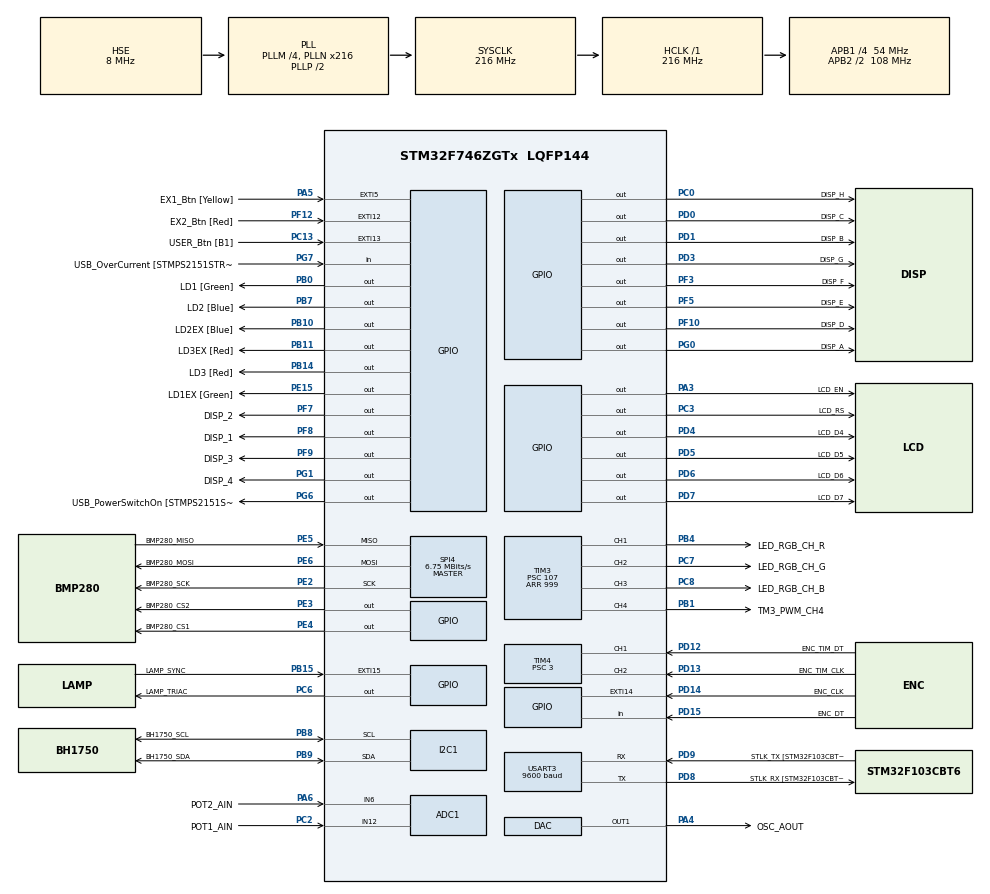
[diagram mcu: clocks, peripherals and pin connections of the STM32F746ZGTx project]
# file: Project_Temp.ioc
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ADC1.Channel-0\#ChannelRegularConversion=ADC_CHANNEL_12
ADC1.Channel-1\#ChannelRegularConversion=ADC_CHANNEL_6
ADC1.ClockPrescaler=ADC_CLOCK_SYNC_PCLK_DIV8
ADC1.ContinuousConvMode=DISABLE
ADC1.DMAContinuousRequests=ENABLE
ADC1.EOCSelection=ADC_EOC_SEQ_CONV
ADC1.InjNumberOfConversion=0
ADC1.NbrOfConversion=2
ADC1.NbrOfConversionFlag=1
ADC1.Rank-0\#ChannelRegularConversion=1
ADC1.Rank-1\#ChannelRegularConversion=2
ADC1.SamplingTime-0\#ChannelRegularConversion=ADC_SAMPLETIME_480CYCLES
ADC1.SamplingTime-1\#ChannelRegularConversion=ADC_SAMPLETIME_480CYCLES
ADC1.master=1
DAC.DAC_Trigger=DAC_TRIGGER_NONE
Dma.ADC1.0.Direction=DMA_PERIPH_TO_MEMORY
Dma.ADC1.0.FIFOMode=DMA_FIFOMODE_DISABLE
Dma.ADC1.0.Instance=DMA2_Stream0
Dma.ADC1.0.MemDataAlignment=DMA_MDATAALIGN_HALFWORD
Dma.ADC1.0.MemInc=DMA_MINC_ENABLE
Dma.ADC1.0.Mode=DMA_CIRCULAR
Dma.ADC1.0.PeriphDataAlignment=DMA_PDATAALIGN_HALFWORD
Dma.ADC1.0.PeriphInc=DMA_PINC_DISABLE
Dma.ADC1.0.Priority=DMA_PRIORITY_LOW
Dma.DAC1.1.Direction=DMA_MEMORY_TO_PERIPH
Dma.DAC1.1.FIFOMode=DMA_FIFOMODE_DISABLE
Dma.DAC1.1.Instance=DMA1_Stream5
Dma.DAC1.1.MemDataAlignment=DMA_MDATAALIGN_HALFWORD
Dma.DAC1.1.MemInc=DMA_MINC_ENABLE
Dma.DAC1.1.Mode=DMA_CIRCULAR
Dma.DAC1.1.PeriphDataAlignment=DMA_PDATAALIGN_HALFWORD
Dma.DAC1.1.PeriphInc=DMA_PINC_DISABLE
Dma.DAC1.1.Priority=DMA_PRIORITY_HIGH
Dma.Request0=ADC1
Dma.Request1=DAC1
I2C1.Timing=0x20404768
Mcu.Family=STM32F7
Mcu.Name=STM32F746ZGTx
Mcu.Package=LQFP144
NVIC.DMA1_Stream5_IRQn=true\:0\:0\:false\:false\:true\:false\:true
NVIC.DMA2_Stream0_IRQn=true\:0\:0\:false\:false\:true\:false\:true
NVIC.EXTI15_10_IRQn=true\:0\:0\:false\:false\:true\:true\:true
NVIC.EXTI9_5_IRQn=true\:0\:0\:false\:false\:true\:true\:true
NVIC.PriorityGroup=NVIC_PRIORITYGROUP_4
NVIC.TIM2_IRQn=true\:0\:0\:false\:false\:true\:true\:true
NVIC.TIM6_DAC_IRQn=true\:0\:0\:false\:false\:true\:true\:true
NVIC.TIM7_IRQn=true\:0\:0\:false\:false\:true\:true\:true
NVIC.USART3_IRQn=true\:0\:0\:false\:false\:true\:true\:true
PA1.GPIO_Label=RMII_REF_CLK [LAN8742A-CZ-TR_REFCLK0]
PA1.Signal=ETH_REF_CLK
PA10.GPIO_Label=USB_ID
PA10.Signal=USB_OTG_FS_ID
PA11.GPIO_Label=USB_DM
PA11.Signal=USB_OTG_FS_DM
PA12.GPIO_Label=USB_DP
PA12.Signal=USB_OTG_FS_DP
PA13.GPIO_Label=TMS
PA13.Mode=Serial_Wire
PA13.Signal=SYS_JTMS-SWDIO
PA14.GPIO_Label=TCK
PA14.Mode=Serial_Wire
PA14.Signal=SYS_JTCK-SWCLK
PA2.GPIO_Label=RMII_MDIO [LAN8742A-CZ-TR_MDIO]
PA2.Signal=ETH_MDIO
PA3.GPIO_Label=LCD_EN
PA3.Signal=GPIO_Output
PA4.GPIO_Label=OSC_AOUT
PA4.Signal=COMP_DAC1_group
PA5.GPIO_Label=EX1_Btn [Yellow]
PA5.GPIO_ModeDefaultEXTI=GPIO_MODE_IT_FALLING
PA5.Signal=GPXTI5
PA6.GPIO_Label=POT2_AIN
PA6.Signal=ADCx_IN6
PA8.GPIO_Label=USB_SOF [TP1]
PA8.Signal=USB_OTG_FS_SOF
PA9.GPIO_Label=USB_VBUS
PA9.Signal=USB_OTG_FS_VBUS
PB0.GPIO_Label=LD1 [Green]
PB0.Signal=GPIO_Output
PB1.GPIO_Label=TM3_PWM_CH4
PB1.Signal=S_TIM3_CH4
PB10.GPIO_Label=LD2EX [Blue]
PB10.Signal=GPIO_Output
PB11.GPIO_Label=LD3EX [Red]
PB11.Signal=GPIO_Output
PB13.GPIO_Label=RMII_TXD1 [LAN8742A-CZ-TR_TXD1]
PB13.Signal=ETH_TXD1
PB14.GPIO_Label=LD3 [Red]
PB14.Signal=GPIO_Output
PB15.GPIO_Label=LAMP_SYNC
PB15.Signal=GPXTI15
PB3.GPIO_Label=SW0
PB3.Signal=SYS_JTDO-SWO
PB4.GPIO_Label=LED_RGB_CH_R
PB4.Signal=S_TIM3_CH1
PB7.GPIO_Label=LD2 [Blue]
PB7.Signal=GPIO_Output
PB8.GPIO_Label=BH1750_SCL
PB8.Mode=I2C
PB8.Signal=I2C1_SCL
PB9.GPIO_Label=BH1750_SDA
PB9.Mode=I2C
PB9.Signal=I2C1_SDA
PC0.GPIO_Label=DISP_H
PC0.GPIO_ModeDefaultOutputPP=GPIO_MODE_OUTPUT_OD
PC0.GPIO_PuPd=GPIO_PULLUP
PC0.Signal=GPIO_Output
PC1.GPIO_Label=RMII_MDC [LAN8742A-CZ-TR_MDC]
PC1.Signal=ETH_MDC
PC13.GPIO_Label=USER_Btn [B1]
PC13.Signal=GPXTI13
PC14/OSC32_IN.Mode=LSE-External-Oscillator
PC14/OSC32_IN.Signal=RCC_OSC32_IN
PC15/OSC32_OUT.Mode=LSE-External-Oscillator
PC15/OSC32_OUT.Signal=RCC_OSC32_OUT
PC2.GPIO_Label=POT1_AIN
PC2.Signal=ADCx_IN12
PC3.GPIO_Label=LCD_RS
PC3.Signal=GPIO_Output
PC4.GPIO_Label=RMII_RXD0 [LAN8742A-CZ-TR_RXD0]
PC4.Signal=ETH_RXD0
PC5.GPIO_Label=RMII_RXD1 [LAN8742A-CZ-TR_RXD1]
PC5.Signal=ETH_RXD1
PC6.GPIO_Label=LAMP_TRIAC
PC6.GPIO_Speed=GPIO_SPEED_FREQ_HIGH
PC6.Signal=GPIO_Output
PC7.GPIO_Label=LED_RGB_CH_G
PC7.Signal=S_TIM3_CH2
PC8.GPIO_Label=LED_RGB_CH_B
PC8.Signal=S_TIM3_CH3
PD0.GPIO_Label=DISP_C
PD0.GPIO_ModeDefaultOutputPP=GPIO_MODE_OUTPUT_OD
PD0.GPIO_PuPd=GPIO_PULLUP
PD0.Signal=GPIO_Output
PD1.GPIO_Label=DISP_B
PD1.GPIO_ModeDefaultOutputPP=GPIO_MODE_OUTPUT_OD
PD1.GPIO_PuPd=GPIO_PULLUP
PD1.Signal=GPIO_Output
PD12.GPIO_Label=ENC_TIM_DT
PD12.Signal=S_TIM4_CH1
PD13.GPIO_Label=ENC_TIM_CLK
PD13.Signal=S_TIM4_CH2
PD14.GPIO_Label=ENC_CLK
PD14.GPIO_ModeDefaultEXTI=GPIO_MODE_IT_FALLING
PD14.Signal=GPXTI14
PD15.GPIO_Label=ENC_DT
PD15.Signal=GPIO_Input
PD3.GPIO_Label=DISP_G
PD3.GPIO_ModeDefaultOutputPP=GPIO_MODE_OUTPUT_OD
PD3.GPIO_PuPd=GPIO_PULLUP
PD3.Signal=GPIO_Output
PD4.GPIO_Label=LCD_D4
PD4.Signal=GPIO_Output
PD5.GPIO_Label=LCD_D5
PD5.Signal=GPIO_Output
PD6.GPIO_Label=LCD_D6
PD6.Signal=GPIO_Output
PD7.GPIO_Label=LCD_D7
PD7.Signal=GPIO_Output
PD8.GPIO_Label=STLK_RX [STM32F103CBT6_PA3]
PD8.Mode=Asynchronous
PD8.Signal=USART3_TX
PD9.GPIO_Label=STLK_TX [STM32F103CBT6_PA2]
PD9.Mode=Asynchronous
PD9.Signal=USART3_RX
PE15.GPIO_Label=LD1EX [Green]
PE15.Signal=GPIO_Output
PE2.GPIO_Label=BMP280_SCK
PE2.Mode=Full_Duplex_Master
PE2.Signal=SPI4_SCK
PE3.GPIO_Label=BMP280_CS2
PE3.GPIO_Speed=GPIO_SPEED_FREQ_VERY_HIGH
PE3.PinState=GPIO_PIN_SET
PE3.Signal=GPIO_Output
PE4.GPIO_Label=BMP280_CS1
PE4.GPIO_Speed=GPIO_SPEED_FREQ_VERY_HIGH
PE4.PinState=GPIO_PIN_SET
PE4.Signal=GPIO_Output
PE5.GPIO_Label=BMP280_MISO
PE5.Mode=Full_Duplex_Master
PE5.Signal=SPI4_MISO
PE6.GPIO_Label=BMP280_MOSI
PE6.Mode=Full_Duplex_Master
PE6.Signal=SPI4_MOSI
PF10.GPIO_Label=DISP_D
PF10.GPIO_ModeDefaultOutputPP=GPIO_MODE_OUTPUT_OD
PF10.GPIO_PuPd=GPIO_PULLUP
PF10.Signal=GPIO_Output
PF12.GPIO_Label=EX2_Btn [Red]
PF12.Signal=GPXTI12
PF3.GPIO_Label=DISP_F
PF3.GPIO_ModeDefaultOutputPP=GPIO_MODE_OUTPUT_OD
PF3.GPIO_PuPd=GPIO_PULLUP
PF3.Signal=GPIO_Output
PF5.GPIO_Label=DISP_E
PF5.GPIO_ModeDefaultOutputPP=GPIO_MODE_OUTPUT_OD
PF5.GPIO_PuPd=GPIO_PULLUP
PF5.Signal=GPIO_Output
PF7.GPIO_Label=DISP_2
PF7.Signal=GPIO_Output
PF8.GPIO_Label=DISP_1
PF8.Signal=GPIO_Output
PF9.GPIO_Label=DISP_3
PF9.Signal=GPIO_Output
PG0.GPIO_Label=DISP_A
PG0.GPIO_ModeDefaultOutputPP=GPIO_MODE_OUTPUT_OD
PG0.GPIO_PuPd=GPIO_PULLUP
PG0.Signal=GPIO_Output
PG1.GPIO_Label=DISP_4
PG1.Signal=GPIO_Output
PG11.GPIO_Label=RMII_TX_EN [LAN8742A-CZ-TR_TXEN]
PG11.Signal=ETH_TX_EN
PG13.GPIO_Label=RMII_TXD0 [LAN8742A-CZ-TR_TXD0]
PG13.Signal=ETH_TXD0
PG6.GPIO_Label=USB_PowerSwitchOn [STMPS2151STR_EN]
PG6.Signal=GPIO_Output
PG7.GPIO_Label=USB_OverCurrent [STMPS2151STR_FAULT]
PG7.Signal=GPIO_Input
PH0/OSC_IN.GPIO_Label=MCO [STM32F103CBT6_PA8]
PH0/OSC_IN.Mode=HSE-External-Clock-Source
PH0/OSC_IN.Signal=RCC_OSC_IN
PH1/OSC_OUT.Mode=HSE-External-Clock-Source
PH1/OSC_OUT.Signal=RCC_OSC_OUT
ProjectManager.HeapSize=0x200
ProjectManager.StackSize=0x400
ProjectManager.TargetToolchain=STM32CubeIDE
RCC.48MHZClocksFreq_Value=24000000
RCC.AHBFreq_Value=216000000
RCC.APB1CLKDivider=RCC_HCLK_DIV4
RCC.APB1Freq_Value=54000000
RCC.APB1TimFreq_Value=108000000
RCC.APB2CLKDivider=RCC_HCLK_DIV2
RCC.APB2Freq_Value=108000000
RCC.APB2TimFreq_Value=216000000
RCC.CortexFreq_Value=216000000
RCC.HCLKFreq_Value=216000000
RCC.HSE_VALUE=8000000
RCC.HSI_VALUE=16000000
RCC.PLLM=4
RCC.PLLMUL=RCC_PLL_MUL9
RCC.PLLN=216
RCC.PLLQ=3
RCC.PLLSourceVirtual=RCC_PLLSOURCE_HSE
RCC.PRESCALERUSB=RCC_USBCLKSOURCE_PLL_DIV1_5
RCC.SYSCLKFreq_VALUE=216000000
RCC.SYSCLKSource=RCC_SYSCLKSOURCE_PLLCLK
RCC.SYSCLKSourceVirtual=RCC_SYSCLKSOURCE_PLLCLK
RCC.USBFreq_Value=144000000
RCC.VCOOutputFreq_Value=432000000
SH.ADCx_IN12.0=ADC1_IN12,IN12
SH.ADCx_IN6.0=ADC1_IN6,IN6
SH.COMP_DAC1_group.0=DAC_OUT1,DAC_OUT1
SH.S_TIM3_CH1.0=TIM3_CH1,PWM Generation1 CH1
SH.S_TIM3_CH2.0=TIM3_CH2,PWM Generation2 CH2
SH.S_TIM3_CH3.0=TIM3_CH3,PWM Generation3 CH3
SH.S_TIM3_CH4.0=TIM3_CH4,PWM Generation4 CH4
SH.S_TIM4_CH1.0=TIM4_CH1,Encoder_Interface
SH.S_TIM4_CH2.0=TIM4_CH2,Encoder_Interface
SPI4.BaudRatePrescaler=SPI_BAUDRATEPRESCALER_16
SPI4.CLKPhase=SPI_PHASE_2EDGE
SPI4.CLKPolarity=SPI_POLARITY_HIGH
SPI4.CalculateBaudRate=6.75 MBits/s
SPI4.DataSize=SPI_DATASIZE_8BIT
SPI4.Direction=SPI_DIRECTION_2LINES
SPI4.Mode=SPI_MODE_MASTER
SPI4.VirtualType=VM_MASTER
TIM2.Period=4999
TIM2.Prescaler=107
TIM3.Channel-PWM\ Generation1\ CH1=TIM_CHANNEL_1
TIM3.Channel-PWM\ Generation2\ CH2=TIM_CHANNEL_2
TIM3.Channel-PWM\ Generation3\ CH3=TIM_CHANNEL_3
TIM3.Channel-PWM\ Generation4\ CH4=TIM_CHANNEL_4
TIM3.Period=999
TIM3.Prescaler=107
TIM3.Pulse-PWM\ Generation2\ CH2=0
TIM3.Pulse-PWM\ Generation3\ CH3=0
TIM4.EncoderMode=TIM_ENCODERMODE_TI12
TIM4.IC1Polarity=TIM_ICPOLARITY_FALLING
TIM4.IC2Polarity=TIM_ICPOLARITY_FALLING
TIM4.Period=100
TIM4.Prescaler=3
TIM6.Period=999
TIM6.Prescaler=107
TIM6.TIM_MasterOutputTrigger=TIM_TRGO_UPDATE
TIM7.Period=999
TIM7.Prescaler=107
USART3.BaudRate=9600
USART3.VirtualMode-Asynchronous=VM_ASYNC
VP_TIM2_VS_ClockSourceINT.Mode=Internal
VP_TIM2_VS_OPM.Mode=OPM_bit
VP_TIM3_VS_ClockSourceINT.Mode=Internal
VP_TIM6_VS_ClockSourceINT.Mode=Enable_Timer
VP_TIM7_VS_ClockSourceINT.Mode=Enable_Timer
board=NUCLEO-F746ZG

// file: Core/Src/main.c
/* USER CODE BEGIN Header */
/**
  ******************************************************************************
  * @file           : main.c
  * @brief          : Main program body
  ******************************************************************************
  * @attention
  *
  * <h2><center>&copy; Copyright (c) 2021 STMicroelectronics.
  * All rights reserved.</center></h2>
  *
  * This software component is licensed by ST under BSD 3-Clause license,
  * the "License"; You may not use this file except in compliance with the
  * License. You may obtain a copy of the License at:
  *                        opensource.org/licenses/BSD-3-Clause
  *
  ******************************************************************************
  */
/* USER CODE END Header */
#include "main.h"
#include "adc.h"
#include "dac.h"
#include "dma.h"
#include "i2c.h"
#include "spi.h"
#include "tim.h"
#include "usart.h"
#include "gpio.h"

/* USER CODE BEGIN Includes */
#include "lcd.h"
#include "lcd_config.h"
#include "bmp280.h"
#include "bmp280_defs.h"
/* USER CODE END Includes */

/* USER CODE BEGIN PD */
#define BMP280_CS1 1
/* USER CODE END PD */

/* USER CODE BEGIN PV */
int8_t bmp280_spi_reg_read ( uint8_t cs , uint8_t reg_addr , uint8_t *
reg_data , uint16_t length);
int8_t bmp280_spi_reg_write ( uint8_t cs , uint8_t reg_addr , uint8_t *
reg_data , uint16_t length);

struct bmp280_dev bmp280 = {
 .dev_id = BMP280_CS1,
 .read = bmp280_spi_reg_read,
 .write = bmp280_spi_reg_write,
 .intf = BMP280_SPI_INTF,
.delay_ms = HAL_Delay
};

char pwminfo[5];
int pwm;
char tmp[5];

/* USER CODE END PV */

void SystemClock_Config(void);

/* USER CODE BEGIN 0 */
void HAL_UART_RxCpltCallback(UART_HandleTypeDef *huart)
{
if(huart->Instance == USART3)
{
	HAL_GPIO_WritePin(LD1_GPIO_Port, LD1_Pin, 1);

}
HAL_UART_Receive_IT(&huart3,(uint8_t*)pwminfo,5);
}
/* USER CODE END 0 */

int main(void)
{
  /* USER CODE BEGIN 1 */
	struct bmp280_uncomp_data bmp280_1_data;
	int32_t temp32;
	double temp;

  /* USER CODE END 1 */

  /* MCU Configuration--------------------------------------------------------*/

  /* Reset of all peripherals, Initializes the Flash interface and the Systick. */
  HAL_Init();

  /* Configure the system clock */
  SystemClock_Config();

  /* Initialize all configured peripherals */
  MX_GPIO_Init();
  MX_DMA_Init();
  MX_USART3_UART_Init();
  MX_TIM2_Init();
  MX_TIM3_Init();
  MX_TIM4_Init();
  MX_I2C1_Init();
  MX_SPI4_Init();
  MX_ADC1_Init();
  MX_DAC_Init();
  MX_TIM6_Init();
  MX_TIM7_Init();
  /* USER CODE BEGIN 2 */
  HAL_TIM_Base_Start(&htim2);
  LCD_Init(&hlcd1);
  LCD_SetCursor(&hlcd1, 0, 0);
  LCD_printStr(&hlcd1, "UWIELBIAM");
  LCD_SetCursor(&hlcd1, 1, 0);
  LCD_printStr(&hlcd1, "SMy!");

  int8_t result;
  struct bmp280_config conf;
  result = bmp280_init(&bmp280);
  result = bmp280_get_config(&conf, &bmp280);
  /* configuring the temperature oversampling, filter coefficient and
 output data rate */
  /* Overwrite the desired settings */
  conf.filter = BMP280_FILTER_OFF;
  conf.os_temp = BMP280_OS_1X;
  conf.os_pres = BMP280_OS_1X;
  conf.odr = BMP280_ODR_250_MS;
  result = bmp280_set_config(&conf, &bmp280);
  result = bmp280_set_power_mode(BMP280_NORMAL_MODE, &bmp280);

  /* USER CODE END 2 */

  /* Infinite loop */
  /* USER CODE BEGIN WHILE */
  while (1)
  {
	  HAL_UART_Receive_IT(&huart3,(uint8_t*)pwminfo,5);
	  /* Reading the raw data from sensor */
	  result = bmp280_get_uncomp_data(&bmp280_1_data, &bmp280);
	  /* Getting the 32 bit compensated temperature */
	  result = bmp280_get_comp_temp_32bit(&temp32, bmp280_1_data.uncomp_temp, &bmp280);
	 /* Getting the compensated temperature as floating point value */
	 result = bmp280_get_comp_temp_double(&temp, bmp280_1_data.uncomp_temp,
	 &bmp280);
	  bmp280.delay_ms(1000);

    /* USER CODE END WHILE */

  }
}

void SystemClock_Config(void)
{
  RCC_OscInitTypeDef RCC_OscInitStruct = {0};
  RCC_ClkInitTypeDef RCC_ClkInitStruct = {0};
  RCC_PeriphCLKInitTypeDef PeriphClkInitStruct = {0};

  /** Configure LSE Drive Capability
  */
  HAL_PWR_EnableBkUpAccess();
  /** Configure the main internal regulator output voltage
  */
  __HAL_RCC_PWR_CLK_ENABLE();
  __HAL_PWR_VOLTAGESCALING_CONFIG(PWR_REGULATOR_VOLTAGE_SCALE1);
  /** Initializes the RCC Oscillators according to the specified parameters
  * in the RCC_OscInitTypeDef structure.
  */
  RCC_OscInitStruct.OscillatorType = RCC_OSCILLATORTYPE_HSE;
  RCC_OscInitStruct.HSEState = RCC_HSE_BYPASS;
  RCC_OscInitStruct.PLL.PLLState = RCC_PLL_ON;
  RCC_OscInitStruct.PLL.PLLSource = RCC_PLLSOURCE_HSE;
  RCC_OscInitStruct.PLL.PLLM = 4;
  RCC_OscInitStruct.PLL.PLLN = 216;
  RCC_OscInitStruct.PLL.PLLP = RCC_PLLP_DIV2;
  RCC_OscInitStruct.PLL.PLLQ = 3;
  if (HAL_RCC_OscConfig(&RCC_OscInitStruct) != HAL_OK)
  {
    Error_Handler();
  }
  /** Activate the Over-Drive mode
  */
  if (HAL_PWREx_EnableOverDrive() != HAL_OK)
  {
    Error_Handler();
  }
  /** Initializes the CPU, AHB and APB buses clocks
  */
  RCC_ClkInitStruct.ClockType = RCC_CLOCKTYPE_HCLK|RCC_CLOCKTYPE_SYSCLK
                              |RCC_CLOCKTYPE_PCLK1|RCC_CLOCKTYPE_PCLK2;
  RCC_ClkInitStruct.SYSCLKSource = RCC_SYSCLKSOURCE_PLLCLK;
  RCC_ClkInitStruct.AHBCLKDivider = RCC_SYSCLK_DIV1;
  RCC_ClkInitStruct.APB1CLKDivider = RCC_HCLK_DIV4;
  RCC_ClkInitStruct.APB2CLKDivider = RCC_HCLK_DIV2;

  if (HAL_RCC_ClockConfig(&RCC_ClkInitStruct, FLASH_LATENCY_7) != HAL_OK)
  {
    Error_Handler();
  }
  PeriphClkInitStruct.PeriphClockSelection = RCC_PERIPHCLK_USART3|RCC_PERIPHCLK_I2C1;
  PeriphClkInitStruct.Usart3ClockSelection = RCC_USART3CLKSOURCE_PCLK1;
  PeriphClkInitStruct.I2c1ClockSelection = RCC_I2C1CLKSOURCE_PCLK1;
  if (HAL_RCCEx_PeriphCLKConfig(&PeriphClkInitStruct) != HAL_OK)
  {
    Error_Handler();
  }
}

/* USER CODE BEGIN 4 */

#define BMP280_SPI_BUFFER_LEN 28
#define BMP280_DATA_INDEX 	  1
#define BMP280_SPI          (&hspi4)
/*!
 * @brief Function for reading the sensor 's registers through SPI bus.
 *
 * @param [in] cs : Chip select to enable the sensor .
 * @param [in] reg_addr : Register address .
 * @param [ out] reg_data : Pointer to the data buffer to store the read data .
 * @param [in] length : No of bytes to read .
 *
 * @return Status of execution
 * @retval 0 -> Success
 * @retval >0 -> Failure Info
 *
 */
int8_t bmp280_spi_reg_read ( uint8_t cs , uint8_t reg_addr , uint8_t * reg_data , uint16_t
length )
 {
 /* Implement the SPI read routine according to the target machine . */
 HAL_StatusTypeDef status = HAL_OK;
 int32_t iError = BMP280_OK;
 uint8_t txarray [ BMP280_SPI_BUFFER_LEN ] = {0 ,};
 uint8_t rxarray [ BMP280_SPI_BUFFER_LEN ] = {0 ,};
 uint8_t stringpos;

 txarray [0] = reg_addr ;

 /* Software slave selection procedure */
 if(cs == BMP280_CS1)
 HAL_GPIO_WritePin ( BMP280_CS1_GPIO_Port , BMP280_CS1_Pin , GPIO_PIN_RESET ) ;

 /* Data exchange */
 status = HAL_SPI_TransmitReceive ( BMP280_SPI,( uint8_t*)(& txarray ),( uint8_t*) (&rxarray ), length + 1,5);
 while (BMP280_SPI -> State == HAL_SPI_STATE_BUSY ) {};

 /* Disable all slaves */
 HAL_GPIO_WritePin ( BMP280_CS1_GPIO_Port , BMP280_CS1_Pin , GPIO_PIN_SET ) ;

 /* Copy data from rx buffer */
 for ( stringpos = 0; stringpos < length ; stringpos ++)
 {
 reg_data [ stringpos ] = rxarray [ stringpos + BMP280_DATA_INDEX ];
 }
 // memcpy ( reg_data , rxarray + BMP280_DATA_INDEX , length );

 if ( status != HAL_OK )
 {
 // The BME280 API calls for 0 return value as a success , and -1 returned as failure
 iError = ( -1) ;
 }

 return ( int8_t ) iError ;
 }
int8_t bmp280_spi_reg_write ( uint8_t cs , uint8_t reg_addr , uint8_t * reg_data , uint16_t length )
 {
 /* Implement the SPI write routine according to the target machine . */
 HAL_StatusTypeDef status = HAL_OK ;
 int32_t iError = BMP280_OK ;
 uint8_t txarray [ BMP280_SPI_BUFFER_LEN ];
 uint8_t stringpos ;

 /* Copy register address and data to tx buffer */
 txarray [0] = reg_addr ;
 for ( stringpos = 0; stringpos < length ; stringpos ++)
 {
 txarray [ stringpos + BMP280_DATA_INDEX ] = reg_data [ stringpos ];
 }
 // memcpy ( txarray + BMP280_DATA_INDEX , reg_data , length );

 /* Software slave selection procedure */\
 if( cs == BMP280_CS1 )
 HAL_GPIO_WritePin ( BMP280_CS1_GPIO_Port , BMP280_CS1_Pin , GPIO_PIN_RESET ) ;

 /* Data exchange */
 status = HAL_SPI_Transmit ( BMP280_SPI , ( uint8_t *) (& txarray ) , length +1 , 100);
 while ( BMP280_SPI -> State == HAL_SPI_STATE_BUSY ) {};

 /* Disable all slaves */
 HAL_GPIO_WritePin ( BMP280_CS1_GPIO_Port , BMP280_CS1_Pin , GPIO_PIN_SET ) ;

 if ( status != HAL_OK )
 { // The BMP280 API calls for 0 return value as a success , and -1 returned as failure
 iError = ( -1) ;
 }

 return ( int8_t ) iError ;
 }

/* USER CODE END 4 */

void Error_Handler(void)
{
  __disable_irq();
  while (1)
  {
  }
}

/************************ (C) COPYRIGHT STMicroelectronics *****END OF FILE****/
